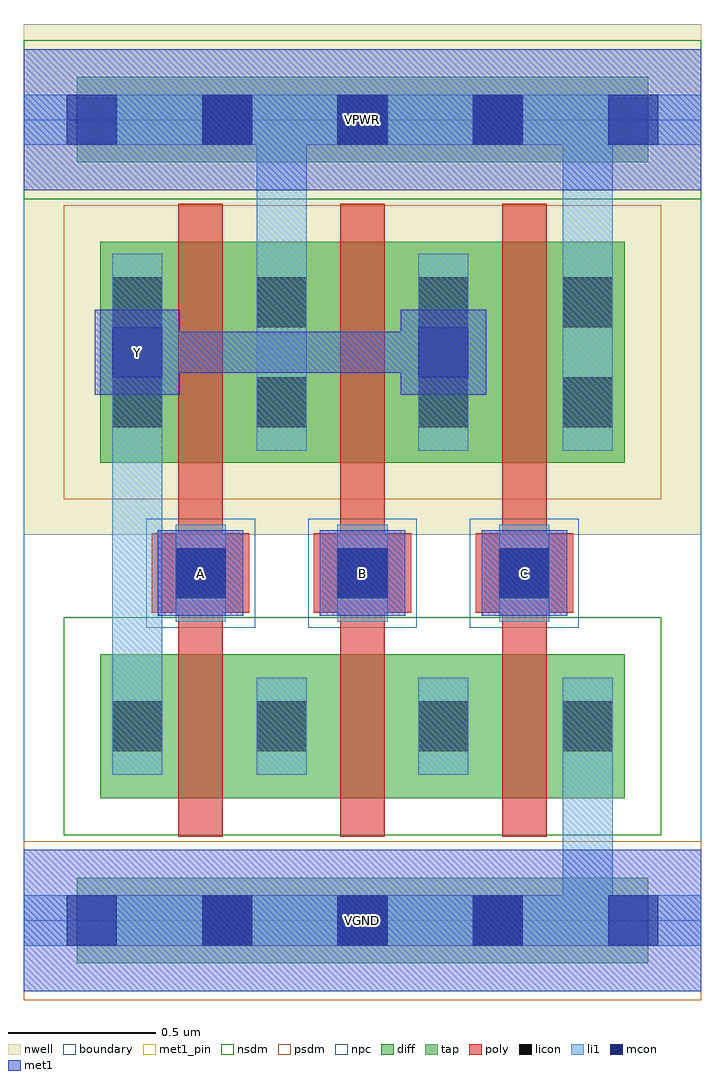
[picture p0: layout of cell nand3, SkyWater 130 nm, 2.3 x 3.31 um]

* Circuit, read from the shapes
.subckt nand3 A B C VGND VPWR Y
XM1 n1 A Y VGND sky130_fd_pr__nfet_01v8 w=0.49 l=0.15
XM2 n2 B n1 VGND sky130_fd_pr__nfet_01v8 w=0.49 l=0.15
XM3 VGND C n2 VGND sky130_fd_pr__nfet_01v8 w=0.49 l=0.15
XM4 VPWR A Y VPWR sky130_fd_pr__pfet_01v8 w=0.75 l=0.15
XM5 Y B VPWR VPWR sky130_fd_pr__pfet_01v8 w=0.75 l=0.15
XM6 VPWR C Y VPWR sky130_fd_pr__pfet_01v8 w=0.75 l=0.15
.ends

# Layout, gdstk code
import gdstk
lib = gdstk.Library(unit=1e-6, precision=1e-09)
def R(c, l, rs):  # rectangles x0, y0, x1, y1
    for r in rs: c.add(gdstk.rectangle(r[:2], r[2:], *l))
def A(c, l, x, y, w, h, nx, ny, dx, dy):  # array of equal rectangles
    R(c, l, [(x+i*dx, y+j*dy, x+i*dx+w, y+j*dy+h) for i in range(nx) for j in range(ny)])
nwell = (64, 20)
diff = (65, 20)
tap = (65, 44)
poly = (66, 20)
licon = (66, 44)
li1 = (67, 20)
mcon = (67, 44)
met1_pin = (68, 16)
met1 = (68, 20)
nsdm = (93, 44)
psdm = (94, 20)
npc = (95, 20)
boundary = (235, 4)

nand3 = lib.new_cell('nand3')
R(nand3, nwell, [(0,1.31,2.3,3.045)])
R(nand3, diff, [(0.26,0.415,2.04,0.905), (0.26,1.555,2.04,2.305)])
R(nand3, tap, [(0.18,-0.145,2.12,0.145), (0.18,2.575,2.12,2.865)])
A(nand3, poly, 0.525, 0.285, 0.15, 2.15, 3, 1, 0.55, 0)
A(nand3, poly, 0.435, 1.045, 0.33, 0.27, 3, 1, 0.55, 0)
A(nand3, licon, 0.605, -0.085, 0.17, 0.17, 3, 2, 0.46, 2.72)
A(nand3, licon, 0.515, 1.095, 0.17, 0.17, 3, 1, 0.55, 0)
R(nand3, licon, [(0.3,0.575,0.47,0.745), (0.79,0.575,0.96,0.745), (1.34,0.575,1.51,0.745), (1.83,0.575,2,0.745), (0.3,1.675,0.47,1.845), (0.79,1.675,0.96,1.845), (1.34,1.675,1.51,1.845), (1.83,1.675,2,1.845), (0.3,2.015,0.47,2.185), (0.79,2.015,0.96,2.185), (1.34,2.015,1.51,2.185), (1.83,2.015,2,2.185)])
A(nand3, li1, 0.515, 1.015, 0.17, 0.33, 3, 1, 0.55, 0)
R(nand3, li1, [(0,-0.085,2.3,0.085), (1.83,-0.085,2,0.825), (0.3,0.495,0.47,0.825), (0.3,0.495,0.47,2.265), (0.79,0.495,0.96,0.825), (1.34,0.495,1.51,0.825), (1.83,0.495,2,0.825), (0.3,1.595,0.47,2.265), (0.79,1.595,0.96,2.265), (0.79,1.595,0.96,2.805), (1.34,1.595,1.51,2.265), (1.83,1.595,2,2.265), (1.83,1.595,2,2.805), (0,2.635,2.3,2.805)])
A(nand3, mcon, 0.145, -0.085, 0.17, 0.17, 5, 2, 0.46, 2.72)
A(nand3, mcon, 0.515, 1.095, 0.17, 0.17, 3, 1, 0.55, 0)
R(nand3, mcon, [(0.3,1.845,0.47,2.015), (1.34,1.845,1.51,2.015)])
A(nand3, met1_pin, 0.455, 1.035, 0.29, 0.29, 3, 1, 0.55, 0)
R(nand3, met1_pin, [(0,-0.24,2.3,0.24), (0.24,1.785,0.53,2.075), (0,2.48,2.3,2.96)])
A(nand3, met1, 0.455, 1.035, 0.29, 0.29, 3, 1, 0.55, 0)
R(nand3, met1, [(0,-0.24,2.3,0.24), (0.24,1.785,0.53,2.075), (1.28,1.785,1.57,2.075), (0.24,1.86,1.57,2), (0,2.48,2.3,2.96)])
R(nand3, nsdm, [(0.135,0.29,2.165,1.03), (0,2.45,2.3,2.99)])
R(nand3, psdm, [(0,-0.27,2.3,0.27), (0.135,1.43,2.165,2.43)])
A(nand3, npc, 0.415, 0.995, 0.37, 0.37, 3, 1, 0.55, 0)
R(nand3, boundary, [(0,0,2.3,2.72)])
nand3.add(gdstk.Label('Y', (0.385,1.93), layer=68, texttype=5))
nand3.add(gdstk.Label('A', (0.6,1.18), layer=68, texttype=5))
nand3.add(gdstk.Label('B', (1.15,1.18), layer=68, texttype=5))
nand3.add(gdstk.Label('C', (1.7,1.18), layer=68, texttype=5))
nand3.add(gdstk.Label('VPWR', (1.15,2.72), layer=68, texttype=5))
nand3.add(gdstk.Label('VGND', (1.15,0), layer=68, texttype=5))
nand3.add(gdstk.Label('Y', (0.385,1.93), layer=68, texttype=16))
nand3.add(gdstk.Label('A', (0.6,1.18), layer=68, texttype=16))
nand3.add(gdstk.Label('B', (1.15,1.18), layer=68, texttype=16))
nand3.add(gdstk.Label('C', (1.7,1.18), layer=68, texttype=16))
nand3.add(gdstk.Label('VPWR', (1.15,2.72), layer=68, texttype=16))
nand3.add(gdstk.Label('VGND', (1.15,0), layer=68, texttype=16))

lib.write_gds('nand3.gds')
